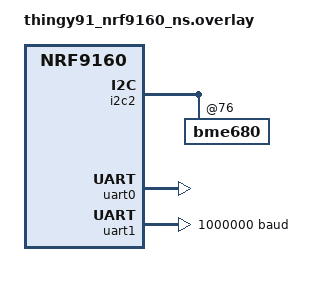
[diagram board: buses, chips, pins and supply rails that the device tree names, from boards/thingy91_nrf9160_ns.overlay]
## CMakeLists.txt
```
#
# Copyright (c) 2022 Nordic Semiconductor ASA
#
# SPDX-License-Identifier: LicenseRef-Nordic-5-Clause
#

cmake_minimum_required(VERSION 3.20.0)

find_package(Zephyr REQUIRED HINTS $ENV{ZEPHYR_BASE})
project(nrf_cloud_mqtt_multi_service)
zephyr_compile_definitions(PROJECT_NAME=${PROJECT_NAME})

# NORDIC SDK APP START
target_sources(app PRIVATE src/main.c)
target_sources(app PRIVATE src/application.c)
target_sources(app PRIVATE src/connection.c)
target_sources(app PRIVATE src/temperature.c)
target_sources(app PRIVATE src/fota_support.c)
target_sources(app PRIVATE src/led_control.c)
target_sources(app PRIVATE src/location_tracking.c)
target_sources(app PRIVATE src/aggregator.c)
#target_sources(app PRIVATE src/ble.c)
# NORDIC SDK APP END


#include(../../../../nrf/cmake/boilerplate.cmake NO_POLICY_SCOPE)
zephyr_include_directories(src)
```

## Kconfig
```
#
# Copyright (c) 2022 Nordic Semiconductor ASA
#
# SPDX-License-Identifier: LicenseRef-Nordic-5-Clause
#


menu "UDP Sample Settings"

config CAMERA_MTU
	int "Camera MTU"
	default 1024
	help
	  MTU of camera transfer over UART

config CAMERA_TIMER
	int "Camera Time frequency"
	default 55
	help
	  Timer in msec when picture is taken at RPI over UART

config CAMERA_START_HOUR
	int "Camera Start hour"
	default 5
	help
	  Start hour in GMT when is talking pictures

config CAMERA_FINISH_HOUR
	int "Camera finish hour"
	default 18
	help
	  Finish hour in GMT when is talking pictures

config UDP_DATA_UPLOAD_SIZE_BYTES
	int "Number of bytes transmitted to the server"
	default 10

config UDP_DATA_UPLOAD_FREQUENCY_SECONDS
	int "How often data is transmitted to the server"
	default 900

config UDP_SERVER_ADDRESS_STATIC
	string "UDP server IP address"
	default "8.8.8.8"

config UDP_SERVER_PORT
	int "UDP server port number"
	default "2469"

config UDP_SERVER_PORT_STAT
	int "UDP stat server port number"
	default "2469"

config UDP_PSM_ENABLE
	bool "Enable LTE Power Saving Mode"
	default y

config UDP_EDRX_ENABLE
	bool "Enable LTE enhanced Discontinuous Reception"

config UDP_RAI_ENABLE
	bool "Enable LTE Release Assistance Indication"

endmenu

module = UDP
module-str = UDP sample
source "${ZEPHYR_BASE}/subsys/logging/Kconfig.template.log_config"


menu "MQTT Multi Service Sample Settings"

config APP_VERSION
	string "MQTT Multi Service Sample version"
	default "1.0.0"

config POWER_SAVING_MODE_ENABLE
	bool "Enable Power Saving Mode (PSM)"
	help
	  Enable to request Power Saving Mode from cellular network.

config LTE_INIT_RETRY_TIMEOUT_SECONDS
	int "LTE initialization retry timeout (seconds)"
	default 30
	help
	  Sets the number of seconds between each LTE modem initialization
	  retry.

config CLOUD_CONNECTION_RETRY_TIMEOUT_SECONDS
	int "Cloud connection retry timeout (seconds)"
	default 30
	help
	  If connecting to nRF Cloud takes longer than this timeout, it will be
	  reattempted.

config CLOUD_CONNECTION_REESTABLISH_DELAY_SECONDS
	int "Cloud connection reestablishment delay (seconds)"
	default 5
	help
	  After the connection to nRF Cloud has been reset, wait this amount of
	  time before attempting to connect again.

config CLOUD_READY_TIMEOUT_SECONDS
	int "Cloud readiness timeout (seconds)"
	default 600
	help
	  If the connection to nRF Cloud does not become ready within this
	  timeout, the sample will reset its connection and try again.

config DATE_TIME_ESTABLISHMENT_TIMEOUT_SECONDS
	int "Modem date and time establishment timeout (seconds)"
	default 300
	help
	  The sample will wait this many seconds for the modem to determine the
	  current date and time before giving up and moving on.

config APPLICATION_THREAD_STACK_SIZE
	int "Application Thread Stack Size (bytes)"
	default 2048
	help
	  Sets the stack size (in bytes) for the application thread of the
	  sample.

config CONNECTION_THREAD_STACK_SIZE
	int "Connection Thread Stack Size (bytes)"
	default 2048
	help
	  Sets the stack size (in bytes) for the connection thread of the
	  sample.

config MESSAGE_THREAD_STACK_SIZE
	int "Message Queue Thread Stack Size (bytes)"
	default 2048
	help
	  Sets the stack size (in bytes) for the message queue processing
	  thread of the sample.

config LED_THREAD_STACK_SIZE
	int "LED Thread Stack Size (bytes)"
	default 512
	help
	  Sets the stack size (in bytes) for the LED thread.

config MAX_OUTGOING_MESSAGES
	int "Outgoing message maximum"
	default 64
	help
	  Sets the maximum number of device messages which may be enqueued
	  before further messages are dropped.

config MAX_CONSECUTIVE_SEND_FAILURES
	int "Max outgoing consecutive send failures"
	default 5
	help
	  Sets the maximum number of device messages which may fail to send
	  before a connection reset and cooldown is triggered.

config CONSECUTIVE_SEND_FAILURE_COOLDOWN_SECONDS
	int "Cooldown after max consecutive send failures exceeded"
	default 10
	help
	  If a connection reset is triggered by too many failed device
	  messages, the sample will wait this long (in seconds) before trying
	  again.

config SENSOR_SAMPLE_INTERVAL_SECONDS
	int "Sensor sampling interval (seconds)"
	default 60
	help
	  Sets the time to wait between each sensor sample.

config LOCATION_TRACKING_SAMPLE_INTERVAL_SECONDS
	int "Location sampling interval (seconds)"
	default 60
	help
	  Sets the location sampling interval in seconds.

config LOCATION_TRACKING_GNSS
	bool "Use GNSS method for location tracking"
	default y
	depends on LOCATION_METHOD_GNSS
	help
	  Disable all location tracking methods to completely disable location tracking.

config LOCATION_TRACKING_CELLULAR
	bool "Use cellular method for location tracking"
	default y
	depends on LOCATION_METHOD_CELLULAR
	help
	  Disable all location tracking methods to completely disable location tracking.

config LOCATION_TRACKING_WIFI
	bool "Use Wi-Fi method for location tracking"
	default n
	depends on LOCATION_METHOD_WIFI
	help
	  Requires the use of an nRF7002 companion chip.
	  Disable all location tracking methods to completely disable location tracking.

config TEMP_DATA_USE_SENSOR
	bool "Use genuine temperature data"
	depends on BOARD_THINGY91_NRF9160_NS
	default y if BOARD_THINGY91_NRF9160_NS
	select SENSOR
	select BME680
	help
	  Sets whether to take genuine temperature measurements from a
	  connected BME680 sensor, or just simulate sensor data.

config TEMP_TRACKING
	bool "Track temperature"
	default y
	help
	  Sets whether to take temperature measurements.

config TEMP_ALERT_LIMIT
	int "Temperature limit to send alert"
	default 30
	help
	  Sets the temperature in degrees C over which a temperature alert will
	  be sent to the cloud.

choice
	prompt "LED indication"
	default LED_INDICATION_PWM if BOARD_THINGY91_NRF9160_NS
	default LED_INDICATION_GPIO if BOARD_NRF9160DK_NRF9160_NS || $(dt_compat_enabled,gpio-leds)
	default LED_INDICATION_DISABLED

	config LED_INDICATION_PWM
		select LED
		select LED_PWM
		select PWM
		bool "Enable LED indication using the pwm-leds driver"

	config LED_INDICATION_GPIO
		select LED
		select LED_GPIO
		bool "Enable LED indication using the gpio-leds driver"

	config LED_INDICATION_DISABLED
		bool "Disable LED indication"
endchoice

choice
	prompt "LED indication LED type"
	depends on !LED_INDICATION_DISABLED
	default LED_INDICATOR_RGB if BOARD_THINGY91_NRF9160_NS && LED_INDICATION_PWM
	default LED_INDICATOR_4LED if !LED_INDICATION_DISABLED
	default LED_INDICATOR_NONE

	config LED_INDICATOR_RGB
		depends on LED_INDICATION_PWM
		bool "A single RGB LED"

	config LED_INDICATOR_4LED
		depends on !LED_INDICATION_DISABLED
		bool "Four binary LEDs"

	config LED_INDICATOR_NONE
		depends on LED_INDICATION_DISABLED
		bool "No indicator LEDs"

endchoice

config LED_VERBOSE_INDICATION
	depends on !LED_INDICATION_DISABLED
	bool "Enables extra LED status indications"
	default y

config LED_CONTINUOUS_INDICATION
	depends on !LED_INDICATION_DISABLED
	bool "Show an idle pattern instead of turning LEDs off"
	default y

config GNSS_FIX_TIMEOUT_SECONDS
	int "GNSS Fix timeout"
	default 40
	help
	  On each location sample, try for this long to achieve a GNSS fix
	  before falling back to cellular positioning.
	  Set this to 20 or so seconds below the sensor sample interval so
	  that there is time left over to perform cellular positioning.
	  Otherwise, location samples may occur at a longer interval than
	  requested.

config TEST_COUNTER
	bool "Sets whether the test counter is enabled"

config AT_CMD_REQUESTS
	bool "Enables remote execution of AT commands using device messages"
	default y

config AT_CMD_REQUEST_RESPONSE_BUFFER_LENGTH
	int "Max length (in bytes) for Modem responses during AT command requests"
	help
	  Responses to modem AT commands are stored in a buffer of this length before being sent to
	  nRF Cloud. If a response from the modem exceeds this length, it will be dropped, and an
	  error code sent in its place (-NRF_E2BIG). Cannot be less than 40 bytes.
	default 200

endmenu

module = MQTT_MULTI_SERVICE
module-str = MQTT Multi Service
source "${ZEPHYR_BASE}/subsys/logging/Kconfig.template.log_config"

menu "Zephyr Kernel"
source "Kconfig.zephyr"
endmenu
```

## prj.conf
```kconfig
#
# Copyright (c) 2022 Nordic Semiconductor ASA
#
# SPDX-License-Identifier: LicenseRef-Nordic-5-Clause
#

# Log level
# For more verbose and detailed log output, set the log level to
# CONFIG_MQTT_MULTI_SERVICE_LOG_LEVEL_DBG=y instead.
CONFIG_MQTT_MULTI_SERVICE_LOG_LEVEL_INF=y

# General config
CONFIG_EVENTS=y
CONFIG_NEWLIB_LIBC=y
CONFIG_NEWLIB_LIBC_FLOAT_PRINTF=y
CONFIG_RESET_ON_FATAL_ERROR=y
CONFIG_NCS_SAMPLES_DEFAULTS=y

#LED indication
# Uncomment these to minimize LED state indication when power savings are necessary
# CONFIG_LED_VERBOSE_INDICATION=n
# CONFIG_LED_CONTINUOUS_INDICATION=n

# Or, uncomment this to completely disable LED state indication
# CONFIG_LED_INDICATION_DISABLED=y

# Improved Logging
# CONFIG_LOG_MODE_DEFERRED allows logging from multiple threads simultaneously without creating
# splintered log entries, at the cost of needing a buffer for storing logs.
CONFIG_LOG_MODE_DEFERRED=y

# CONFIG_LOG_BUFFER_SIZE is the aforementioned buffer. A size of 4096 bytes is useful for debugging
# and prototyping, but is probably more than necessary for production-ready firmware.
CONFIG_LOG_BUFFER_SIZE=4096

# Heap and stacks
# Extended memory heap size needed both for PGPS and for encoding JSON-based nRF Cloud Device Messages.
CONFIG_HEAP_MEM_POOL_SIZE=24576
CONFIG_SYSTEM_WORKQUEUE_STACK_SIZE=2048

# Network
CONFIG_NETWORKING=y
CONFIG_NET_NATIVE=n
CONFIG_NET_SOCKETS=y
CONFIG_NET_SOCKETS_OFFLOAD=y

# Modem library
CONFIG_NRF_MODEM_LIB=y

# AT commands interface
#CONFIG_AT_HOST_LIBRARY=n

# nRF Cloud
CONFIG_NRF_CLOUD_MQTT=y # This also enables FOTA by implicitly setting CONFIG_NRF_CLOUD_FOTA=y

# MQTT
CONFIG_MQTT_KEEPALIVE=120

# MCUBOOT - Needed by FOTA
CONFIG_BOOTLOADER_MCUBOOT=y
CONFIG_IMG_MANAGER=y
CONFIG_MCUBOOT_IMG_MANAGER=n
CONFIG_STREAM_FLASH_ERASE=y

# Location Services configuration
CONFIG_LOCATION=y
CONFIG_LOCATION_METHOD_GNSS=y
CONFIG_LOCATION_METHOD_CELLULAR=y
CONFIG_NRF_CLOUD_AGPS=y
CONFIG_NRF_CLOUD_LOCATION=y
CONFIG_MODEM_INFO=y
CONFIG_MODEM_INFO_ADD_NETWORK=y
CONFIG_NRF_CLOUD_PGPS=n
#CONFIG_NRF_CLOUD_PGPS_REPLACEMENT_THRESHOLD=4
CONFIG_NRF_CLOUD_PGPS_REQUEST_UPON_INIT=n

# Date Time lib - Used by PGPS and main application
CONFIG_DATE_TIME=y

# LTE link control - used by PGPS and main application
CONFIG_LTE_LINK_CONTROL=y
CONFIG_LTE_NETWORK_MODE_LTE_M_GPS=y
CONFIG_LTE_AUTO_INIT_AND_CONNECT=n

# Settings - used by nRF Cloud library and PGPS
CONFIG_SETTINGS=y
CONFIG_SETTINGS_FCB=y
CONFIG_FCB=y

# Download Client - used by FOTA and PGPS
CONFIG_DOWNLOAD_CLIENT=y
CONFIG_DOWNLOAD_CLIENT_HTTP_FRAG_SIZE_1024=y
CONFIG_DOWNLOAD_CLIENT_STACK_SIZE=4096
CONFIG_DOWNLOAD_CLIENT_BUF_SIZE=2300
CONFIG_DOWNLOAD_CLIENT_MAX_HOSTNAME_SIZE=128

# Flash - Used by FOTA and PGPS
CONFIG_FLASH=y
CONFIG_FLASH_PAGE_LAYOUT=y
CONFIG_FLASH_MAP=y
CONFIG_STREAM_FLASH=y
CONFIG_MPU_ALLOW_FLASH_WRITE=y
CONFIG_PM_EXTERNAL_FLASH_MCUBOOT_SECONDARY=n
CONFIG_NRF_CLOUD_ALERTS=y



# Enable nordic security backend and PSA APIs
#CONFIG_NRF_SECURITY=y
#CONFIG_MBEDTLS_PSA_CRYPTO_C=y

##CONFIG_MBEDTLS=y
#CONFIG_MBEDTLS_CFG_FILE="config-tls-generic.h"
#CONFIG_MBEDTLS_ENTROPY_ENABLED=y
#CONFIG_MBEDTLS_PSA_CRYPTO_C=y
#CONFIG_MBEDTLS_ZEPHYR_ENTROPY=y

#CONFIG_MBEDTLS_ENABLE_HEAP=y
#CONFIG_MBEDTLS_HEAP_SIZE=8192
#CONFIG_PSA_CRYPTO_DRIVER_OBERON=n
##CONFIG_PSA_CRYPTO_DRIVER_CC3XX=n
##CONFIG_PSA_CRYPTO_DRIVER_ALG_SHA_256_OBERON=n
#CONFIG_PSA_CRYPTO_DRIVER_ALG_SHA_256_CC3XX=n
#CONFIG_PSA_WANT_ALG_SHA_256=n

## PSM
CONFIG_UDP_PSM_ENABLE=y
CONFIG_LTE_PSM_REQ_RPTAU="00100001"
CONFIG_LTE_PSM_REQ_RAT="00000000"

## eDRX
CONFIG_UDP_EDRX_ENABLE=y
CONFIG_LTE_EDRX_REQ_VALUE_LTE_M="1001"

## RAI
CONFIG_UDP_RAI_ENABLE=y
CONFIG_LTE_RAI_REQ_VALUE="4"

CONFIG_UDP_SERVER_ADDRESS_STATIC="REDACTED"
CONFIG_UDP_SERVER_PORT=REDACTED
CONFIG_UDP_SERVER_PORT_STAT=REDACTED

CONFIG_UDP_DATA_UPLOAD_FREQUENCY_SECONDS=120
CONFIG_MODEM_ANTENNA_AT_MAGPIO="AT%XMAGPIO=1,1,1,7,1,746,803,2,698,748,2,1710,2200,3,824,894,4,880,960,5,791,849,7,1565,1586"
CONFIG_MODEM_ANTENNA_AT_COEX0="AT%XCOEX0=1,1,1565,1586"
CONFIG_NEWLIB_LIBC_MIN_REQUIRED_HEAP_SIZE=2048
CONFIG_LED_INDICATION_DISABLED=y
CONFIG_POWER_SAVING_MODE_ENABLE=y
CONFIG_MODEM_ANTENNA=y
#CONFIG_TFM_PROFILE_TYPE_MINIMAL=n


# Enable Bluetooth stack and libraries
CONFIG_BT=n
#CONFIG_BT_H4=y
#CONFIG_BT_WAIT_NOP=y
#CONFIG_BT_CENTRAL=y
#CONFIG_BT_GATT_CLIENT=y
#CONFIG_BT_GATT_DM=y
#CONFIG_BT_SCAN=y
#CONFIG_BT_SCAN_FILTER_ENABLE=y
#CONFIG_BT_SCAN_UUID_CNT=1
#CONFIG_BT_OBSERVER=y
#CONFIG_BT_FILTER_ACCEPT_LIST=y


CONFIG_NRF_MODEM_LIB=y
# Modem library fault handling
CONFIG_NRF_MODEM_LIB_ON_FAULT_APPLICATION_SPECIFIC=y

# Disable Modem traces, since we need UART1 for HCI
#CONFIG_NRF_MODEM_LIB_TRACE=n

CONFIG_USE_SEGGER_RTT=y
CONFIG_RTT_CONSOLE=y
CONFIG_LOG_BACKEND_RTT=y
#CONFIG_AT_HOST_LIBRARY=n
CONFIG_NRF_MODEM_LIB_ON_FAULT_APPLICATION_SPECIFIC=y
CONFIG_DK_LIBRARY=y
# Modem library
CONFIG_NRF_MODEM_LIB=y
# Modem library fault handling
CONFIG_NRF_MODEM_LIB_ON_FAULT_APPLICATION_SPECIFIC=y

# Disable Modem traces, since we need UART1 for HCI
#CONFIG_NRF_MODEM_LIB_TRACE=n


CONFIG_MODEM_INFO=y
CONFIG_MODEM_INFO_ADD_NETWORK=y

# Logging
CONFIG_LOG=y

# LTE link control
CONFIG_LTE_LINK_CONTROL=y
CONFIG_LTE_AUTO_INIT_AND_CONNECT=n
CONFIG_LTE_NETWORK_MODE_LTE_M_GPS=y



#
# Copyright (c) 2019 Nordic Semiconductor ASA
#
# SPDX-License-Identifier: LicenseRef-Nordic-5-Clause
#
# General config
CONFIG_NEWLIB_LIBC=y
CONFIG_NEWLIB_LIBC_FLOAT_PRINTF=y
CONFIG_ASSERT=n
CONFIG_REBOOT=y

# Network
CONFIG_NETWORKING=y
CONFIG_NET_NATIVE=n
CONFIG_NET_SOCKETS=y
CONFIG_NET_SOCKETS_OFFLOAD=y

# LTE link control
CONFIG_LTE_LINK_CONTROL=y
CONFIG_LTE_AUTO_INIT_AND_CONNECT=n
CONFIG_LTE_NETWORK_MODE_LTE_M_GPS=y

# AT host
#CONFIG_AT_HOST_LIBRARY=n

# Modem library
CONFIG_NRF_MODEM_LIB=y
# Modem library fault handling
CONFIG_NRF_MODEM_LIB_ON_FAULT_APPLICATION_SPECIFIC=y

# Disable Modem traces, since we need UART1 for HCI
#CONFIG_NRF_MODEM_LIB_TRACE=n

# nRF Cloud
CONFIG_NRF_CLOUD_MQTT=y
#CONFIG_NRF_CLOUD_AGPS=y

# Modem info
CONFIG_MODEM_INFO=y
CONFIG_MODEM_INFO_ADD_NETWORK=y

# Logging
CONFIG_LOG=y



# Library for buttons and LEDs
CONFIG_DK_LIBRARY=y

# Console for user association
#CONFIG_CONSOLE_SUBSYS=y
#CONFIG_CONSOLE_GETCHAR=y

# Enable Bluetooth stack and libraries
CONFIG_BT=n
#CONFIG_BT_H4=y
#CONFIG_BT_WAIT_NOP=y
#CONFIG_BT_CENTRAL=y
#CONFIG_BT_GATT_CLIENT=y
#CONFIG_BT_GATT_DM=y
#CONFIG_BT_SCAN=y
#CONFIG_BT_SCAN_FILTER_ENABLE=y
#CONFIG_BT_SCAN_UUID_CNT=1

CONFIG_UART_INTERRUPT_DRIVEN=y

# Heap and stacks
#CONFIG_HEAP_MEM_POOL_SIZE=16384
CONFIG_MAIN_STACK_SIZE=16384
CONFIG_SYSTEM_WORKQUEUE_STACK_SIZE=8192
CONFIG_AT_CMD_REQUESTS=n
CONFIG_SERIAL=y
CONFIG_LOG_BACKEND_UART=y
CONFIG_UART_CONSOLE=y
CONFIG_NRF_MODEM_LIB_ON_FAULT_RESET_MODEM=y
#CONFIG_BT_HCI_TX_STACK_SIZE=2048
#CONFIG_BOOTLOADER_MCUBOOT=n
CONFIG_GPIO=y
CONFIG_SENSOR_SAMPLE_INTERVAL_SECONDS=600
CONFIG_MQTT_KEEPALIVE=120
#CONFIG_BT_SCAN_SHORT_NAME_CNT=4
CONFIG_CBPRINTF_FP_SUPPORT=y

CONFIG_SERIAL=y
CONFIG_CBPRINTF_FP_SUPPORT=y
CONFIG_UART_ASYNC_API=y
CONFIG_UART_1_ASYNC=y
CONFIG_CRC=y


# fs_dirent structures are big.

# Let __ASSERT do its job

CONFIG_LOG=y

CONFIG_FLASH=y
CONFIG_FLASH_MAP=y
CONFIG_FLASH_PAGE_LAYOUT=y

#CONFIG_FILE_SYSTEM=y
#CONFIG_FILE_SYSTEM_LITTLEFS=y

#CONFIG_BOOTLOADER_MCUBOOT=y

#CONFIG_SPI_NRFX_RAM_BUFFER_SIZE=32
##CONFIG_SPI=y
##CONFIG_SPI_NOR=y
#CONFIG_MULTITHREADING=y
#CONFIG_SPI_NOR_FLASH_LAYOUT_PAGE_SIZE=4096
#CONFIG_SPI_NRFX_RAM_BUFFER_SIZE=32
#CONFIG_PM_OVERRIDE_EXTERNAL_DRIVER_CHECK=y
#CONFIG_SPI_NOR_FLASH_LAYOUT_PAGE_SIZE=4096
CONFIG_NRF_CLOUD_REST=n 
CONFIG_NRF_CLOUD_GATEWAY=n 
CONFIG_NRF_CLOUD_LOG_LEVEL_DBG=y
#CONFIG_NRF_MODEM_LIB_TRACE=y
#CONFIG_AT_HOST_LIBRARY=y
#CONFIG_BT_HCI_VS_EXT=n

CONFIG_NRF_CLOUD_CLIENT_ID_PREFIX="REDACTED"


CONFIG_NRF_CLOUD_REST=n 
CONFIG_NRF_CLOUD_GATEWAY=n 
CONFIG_NRF_CLOUD_LOG_LEVEL_DBG=y
CONFIG_CAMERA_TIMER=55
CONFIG_CAMERA_START_HOUR=5
CONFIG_CAMERA_FINISH_HOUR=18


CONFIG_LOCATION_TRACKING_SAMPLE_INTERVAL_SECONDS=3600 
CONFIG_ADC=y
CONFIG_GPIO=y 

CONFIG_I2C=y
CONFIG_LOG=y
CONFIG_SENSOR=y
CONFIG_CBPRINTF_FP_SUPPORT=y
CONFIG_I2C_LOG_LEVEL_DBG=y
CONFIG_I2C=y
CONFIG_I2C_NRFX=y
```

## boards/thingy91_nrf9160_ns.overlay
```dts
/* Copyright (c) 2022 Nordic Semiconductor ASA
 *
 * SPDX-License-Identifier: LicenseRef-Nordic-5-Clause
 */

/ {
	aliases {
		temp-sensor = &bme680;
	};
};

&i2c2 {
	bme680: bme680@76 {};
};

/* Disable UART1, because it is used by default in TF-M */

&uart0 {
	status = "okay";

	//rts-pin = < 0xFF>;
};



	
&uart1 {
	status = "okay";
	current-speed = <1000000>;
};
```

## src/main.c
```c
/* Copyright (c) 2022 Nordic Semiconductor ASA
 *
 * SPDX-License-Identifier: LicenseRef-Nordic-5-Clause
 */

#include <zephyr/kernel.h>
#include <stdio.h>
#include <zephyr/logging/log.h>
#include "application.h"
#include "connection.h"
#include "led_control.h"



LOG_MODULE_REGISTER(main, CONFIG_MQTT_MULTI_SERVICE_LOG_LEVEL);

/* Here, we start the various threads that our application will run in */

#ifndef CONFIG_LED_INDICATION_DISABLED
/* Define, and automatically start the LED animation thread. See led_control.c */
K_THREAD_DEFINE(led_thread, CONFIG_LED_THREAD_STACK_SIZE, led_animation_thread_fn,
		NULL, NULL, NULL, 0, 0, 0);
#endif

/* Define, and automatically start the main application thread. See application.c */
K_THREAD_DEFINE(app_thread, CONFIG_APPLICATION_THREAD_STACK_SIZE, main_application_thread_fn,
		NULL, NULL, NULL, 0, 0, 0);

/* Define, and automatically start the message queue thread. See connection.c */
K_THREAD_DEFINE(msg_thread, CONFIG_MESSAGE_THREAD_STACK_SIZE, message_queue_thread_fn,
		NULL, NULL, NULL, 0, 0, 0);

/* Define, and automatically start the connection management thread. See connection.c
 *
 * The connection thread is given higher priority (-1) so that it can preempt the other threads,
 * for instance in the event of a call to disconnect_cloud().
 *
 * Priority -1 is also a non-preeemptible priority level, so other threads, even of higher
 * priority, cannot interrupt the connection thread until it yields.
 */
K_THREAD_DEFINE(con_thread, CONFIG_CONNECTION_THREAD_STACK_SIZE, connection_management_thread_fn,
		NULL, NULL, NULL, -1, 0, 0);

/* main() is called from the main thread, which defaults to priority zero,
 * but for illustrative purposes we don't use it. main_application() could be called directly
 * from this function, rather than given its own dedicated thread.
 */

void main(void)
{
	LOG_INF("nRF Cloud MQTT multi-service sample has started.");
}
```

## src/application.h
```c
/* Copyright (c) 2022 Nordic Semiconductor ASA
 *
 * SPDX-License-Identifier: LicenseRef-Nordic-5-Clause
 */

#ifndef _APPLICATION_H_
#define _APPLICATION_H_

/**
 * @brief Main application -- Wait for valid connection, start location tracking, and then
 * periodically sample sensors and send them to nRF Cloud.
 */
struct cameraControl
  {
    //   char request_Type[100];
      bool takePictureNow;
      bool processing;
      bool processed;
      int64_t lastPictureTaken;
      int64_t nextScheduledTime;
      int8_t delayUdpSend;
      int8_t quality;
      bool powerSave;
      int8_t cameraFrequency;
      int8_t solarChargerEnable;
	//   uint8_t m_hash[10];
  };


struct boardStatus
  {
    //   char request_Type[100];
      uint16_t batteryVoltage;
      int8_t solarChargerEnable;
      int8_t solarChargerStatus;
      int8_t solarChargerPGood;
      int8_t rpiChargerEnable;
      int8_t rpiChargerLow;
      int64_t lastPictureTaken;
      int64_t nextScheduledTime;
      int8_t delayUdpSend;
      uint16_t modemBatteryVoltage;
      uint16_t rpiBatteryVoltage;
      uint16_t rpiBatteryPercent;
      int8_t lastPictureQuality;
   //   int8_t md5Array[16];
      int8_t rpiShutdown;
      bool icarusChargerEnable;
      bool icarusChargerStatus;

	//   uint8_t m_hash[10];
  };

void main_application_thread_fn(void);



#endif /* _APPLICATION_H_ */
```

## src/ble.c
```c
/*
 * Copyright (c) 2018 Nordic Semiconductor ASA
 *
 * SPDX-License-Identifier: LicenseRef-Nordic-5-Clause
 */

#include <zephyr/kernel.h>

#include <zephyr/bluetooth/bluetooth.h>
#include <zephyr/bluetooth/gatt.h>
#include <zephyr/bluetooth/uuid.h>
#include <bluetooth/gatt_dm.h>
#include <bluetooth/scan.h>

#include <dk_buttons_and_leds.h>
#include <zephyr/sys/byteorder.h>

#include <net/nrf_cloud.h>
#include <zephyr/logging/log.h>
#include "aggregator.h"
#include "application.h"


#include "prstlib/adc.h"
#include "prstlib/led.h"
#include "prstlib/macros.h"
#include "prstlib/sensors.h"

extern struct TextMessage newMess;

bt_addr_le_t set_addr = {
	.type = 0,
	.a =  { {0xE9, 0xD6, 0xAF, 0x57, 0xD4, 0xEC} } ,
};

bt_addr_le_t addr = {
		.type		= BT_ADDR_LE_RANDOM,
		.a.val		= {0xba, 0xde, 0xba, 0x11, 0xca, 0xfe},
	};


bt_addr_t set_addr2[] =  {0xE9, 0xD6, 0xAF, 0x57, 0xD4, 0xEC};

LOG_MODULE_REGISTER(lte_ble_gw, CONFIG_MQTT_MULTI_SERVICE_LOG_LEVEL);

//extern struct TextMessage newMess;

static struct bt_conn *default_conn;

/* Thinghy advertisement UUID */
#define BT_UUID_THINGY_VAL \
	BT_UUID_128_ENCODE(0xef680100, 0x9b35, 0x4933, 0x9b10, 0x52ffa9740042)

#define BT_UUID_THINGY \
	BT_UUID_DECLARE_128(BT_UUID_THINGY_VAL)
/* Thingy service UUID */
#define BT_UUID_TMS_VAL \
	BT_UUID_128_ENCODE(0xef680400, 0x9b35, 0x4933, 0x9b10, 0x52ffa9740042)

#define BT_UUID_TMS \
	BT_UUID_DECLARE_128(BT_UUID_TMS_VAL)
		/* Thingy characteristic UUID */
#define BT_UUID_TOC_VAL \
	BT_UUID_128_ENCODE(0xef680403, 0x9b35, 0x4933, 0x9b10, 0x52ffa9740042)

#define BT_UUID_TOC \
	BT_UUID_DECLARE_128(BT_UUID_TOC_VAL)
extern void alarm(void);



static uint8_t on_received(struct bt_conn *conn,
			struct bt_gatt_subscribe_params *params,
			const void *data, uint16_t length)
{
	if (length > 0) {
		LOG_INF("Orientation: %x", ((uint8_t *)data)[0]);
		struct sensor_data in_data;

		in_data.type = THINGY_ORIENTATION;
		in_data.length = 1;
		in_data.data[0] = ((uint8_t *)data)[0];

		if (aggregator_put(in_data) != 0) {
			LOG_ERR("Was not able to insert Thingy orientation data into aggregator");
		}
		/* If the thingy is upside down, trigger an alarm. 
		if (((uint8_t *)data)[0] == 3) {
			alarm();
		}
*/
	} else {
		LOG_DBG("Orientation notification with 0 length");
	}
	return BT_GATT_ITER_CONTINUE;
}

static void discovery_completed(struct bt_gatt_dm *disc, void *ctx)
{
	int err;

	/* Must be statically allocated */
	static struct bt_gatt_subscribe_params param = {
		.notify = on_received,
		.value = BT_GATT_CCC_NOTIFY,
	};

	const struct bt_gatt_dm_attr *chrc;
	const struct bt_gatt_dm_attr *desc;

	chrc = bt_gatt_dm_char_by_uuid(disc, BT_UUID_TOC);
	if (!chrc) {
		LOG_ERR("Missing Thingy orientation characteristic");
		goto release;
	}

	desc = bt_gatt_dm_desc_by_uuid(disc, chrc, BT_UUID_TOC);
	if (!desc) {
		LOG_ERR("Missing Thingy orientation char value descriptor");
		goto release;
	}

	param.value_handle = desc->handle,

	desc = bt_gatt_dm_desc_by_uuid(disc, chrc, BT_UUID_GATT_CCC);
	if (!desc) {
		LOG_ERR("Missing Thingy orientation char CCC descriptor");
		goto release;
	}

	param.ccc_handle = desc->handle;

	err = bt_gatt_subscribe(bt_gatt_dm_conn_get(disc), &param);
	if (err) {
		LOG_ERR("Subscribe failed (err %d)", err);
	}

release:
	err = bt_gatt_dm_data_release(disc);
	if (err) {
		LOG_ERR("Could not release discovery data, err: %d", err);
	}
}

static void discovery_service_not_found(struct bt_conn *conn, void *ctx)
{
	LOG_ERR("Thingy orientation service not found!");
}

static void discovery_error_found(struct bt_conn *conn, int err, void *ctx)
{
	LOG_ERR("The discovery procedure failed, err %d", err);
}

static struct bt_gatt_dm_cb discovery_cb = {
	.completed = discovery_completed,
	.service_not_found = discovery_service_not_found,
	.error_found = discovery_error_found,
};

static void connected(struct bt_conn *conn, uint8_t conn_err)
{
	int err;
	char addr[BT_ADDR_LE_STR_LEN];

	bt_addr_le_to_str(bt_conn_get_dst(conn), addr, sizeof(addr));

	if (conn_err) {
		LOG_ERR("Failed to connect to %s (%u)", addr, conn_err);
		return;
	}

	LOG_INF("Connected: %s", addr);

	err = bt_gatt_dm_start(conn, BT_UUID_TMS, &discovery_cb, NULL);
	if (err) {
		LOG_ERR("Could not start service discovery, err %d", err);
	}
}

static struct bt_conn_cb conn_callbacks = {
	.connected = connected,
};

bool find_adv_data(struct bt_data *data, void *user_data)
{
   // printk("Data type is %u \n", data->type);
    if(data->type == 22)
	{
		LOG_INF("Size struct: %d\n", newMess.SenderId);

  		const uint8_t protocol_version = data->data[2] >> 4;
  		if (protocol_version != 1 && protocol_version != 2) {
    		LOG_INF("Unsupported protocol version: %u", protocol_version);
    	//	return false;
  		}
		else
		{
		LOG_INF("supported protocol version: %u", protocol_version);
		}

// Some b-parasite versions have an (optional) illuminance sensor.
  		bool has_illuminance = data->data[2] & 0x1;
		LOG_INF("Illuminance support: %u", has_illuminance);
  // Counter for deduplicating messages.
  		uint8_t counter = data->data[3] & 0x0f;
		LOG_INF("Counter: %u", counter);
		newMess.SenderId = counter;

	// Battery voltage in millivolts.
  		uint16_t battery_millivolt = data->data[4] << 8 | data->data[5];
  		float battery_voltage = battery_millivolt / 1000.0f;
		LOG_INF("Battery voltage: %.2f", battery_voltage);

// Temperature in 1000 * Celsius (protocol v1) or 100 * Celsius (protocol v2).
  		float temp_celsius;
  		if (protocol_version == 1) {
    		uint16_t temp_millicelsius = data->data[6] << 8 | data->data[7];
    		temp_celsius = temp_millicelsius / 1000.0f;
  		} else {
    		int16_t temp_centicelsius = data->data[6] << 8 | data->data[7];
    		temp_celsius = temp_centicelsius / 100.0f;
  		}
		LOG_INF("Temp: %.2f", temp_celsius);

// Relative air humidity in the range [0, 2^16).
  		uint16_t humidity = data->data[8] << 8 | data->data[9];
  		float humidity_percent = (100.0f * humidity) / (1 << 16);
		LOG_INF("Humidity: %.2f", humidity_percent);

  // Relative soil moisture in [0 - 2^16).
  		uint16_t soil_moisture = data->data[10] << 8 | data->data[11];
  		float moisture_percent = (100.0f * soil_moisture) / (1 << 16);
		LOG_INF("Moisture: %.2f", moisture_percent);

  // Ambient light in lux.
  		float illuminance = has_illuminance ? data->data[18] << 8 | data->data[19] : 0.0f;
		LOG_INF("Illuminance: %.2f", illuminance);



  	//	if (last_processed_counter_ == counter) {
    //		ESP_LOGVV(TAG, "Skipping already processed counter (%u)", counter);
    //		return false;
  	//	}

	//	LOG_INF("data Lenght: %u", data->data_len);
//		for(int i = 0; i < data->data_len; i++)
//		{
//			LOG_INF("0x%02x", data->data[i]);
//		}
	}
    return true; // keep parsing
}


void scan_filter_match(struct bt_scan_device_info *device_info,
		       struct bt_scan_filter_match *filter_match,
		       bool connectable)
{
	char addr[BT_ADDR_LE_STR_LEN];

	bt_addr_le_to_str(device_info->recv_info->addr, addr, sizeof(addr));
	//struct net_buf_simple *adv_data;

	LOG_INF("Device found: %s", addr);
    bt_data_parse(device_info->adv_data, find_adv_data, NULL);

}


void scan_connecting_error(struct bt_scan_device_info *device_info)
{
	LOG_ERR("Connection to peer failed!");
}

static void scan_filter_no_match(struct bt_scan_device_info *device_info,
				 bool connectable)
{
	int err;
	struct bt_conn *conn;
	char addr[BT_ADDR_LE_STR_LEN];
//	if (device_info->recv_info->adv_type == BT_GAP_ADV_TYPE_ADV_DIRECT_IND) {
		bt_addr_le_to_str(device_info->recv_info->addr, addr,
				  sizeof(addr));
		LOG_INF("Direct advertising received from %s\n", addr);
//		bt_scan_stop();

//		err = bt_conn_le_create(device_info->recv_info->addr,
//					BT_CONN_LE_CREATE_CONN,
//					device_info->conn_param, &conn);

//		if (!err) {
//			default_conn = bt_conn_ref(conn);
//			bt_conn_unref(conn);
		
//	}
}

//BT_SCAN_CB_INIT(scan_cb, scan_filter_match, scan_filter_no_match, scan_connecting_error, NULL);
BT_SCAN_CB_INIT(scan_cb, scan_filter_match, NULL, scan_connecting_error, NULL);

static void scan_start(void)
{
	int err;

	struct bt_le_scan_param scan_param = {
		.type = BT_LE_SCAN_TYPE_PASSIVE,
//		.options = BT_LE_SCAN_OPT_FILTER_ACCEPT_LIST, 
		.options = BT_LE_SCAN_OPT_FILTER_DUPLICATE,
		.interval = 0x0010,
		.window = 0x0010,
		.timeout = 0,
	};

	struct bt_scan_init_param scan_init = {
		.connect_if_match = 0,
		.scan_param = &scan_param,
		.conn_param = BT_LE_CONN_PARAM_DEFAULT,
	};

	bt_scan_init(&scan_init);
	bt_scan_cb_register(&scan_cb);
	uint8_t filter_mode = 0;
	bt_scan_filter_remove_all();

	//char addr_str[BT_ADDR_LE_STR_LEN];

	//bt_addr_le_to_str(&addr, addr_str,
//				  sizeof(addr_str));
//	LOG_INF("Address filter added %s", addr_str);

    struct bt_scan_short_name ble_shrt_name;
	ble_shrt_name.name = "prst";
	ble_shrt_name.min_len = 4;

	err = bt_scan_filter_add(BT_SCAN_FILTER_TYPE_SHORT_NAME, &ble_shrt_name);
	if (err) {
		LOG_ERR("Scanning filters cannot be set (err %d)", err);
		return;
	}
	err = bt_scan_filter_enable(BT_SCAN_SHORT_NAME_FILTER, false);
	//err = bt_scan_filter_enable(BT_SCAN_ADDR_FILTER, false);
	if (err) {
		LOG_ERR("Filters cannot be turned on");
	}

	err = bt_scan_start(BT_SCAN_TYPE_SCAN_ACTIVE);
	if (err) {
		LOG_ERR("Scanning failed to start, err %d", err);
	}

	LOG_INF("Scanning...");
}

static void ble_ready(int err)
{
	LOG_INF("Bluetooth ready");

	bt_conn_cb_register(&conn_callbacks);
	scan_start();
}

void ble_init()
{
	int err;
	LOG_INF("Initializing Bluetooth..");
	err = bt_enable(ble_ready);
	if (err) {
		LOG_ERR("Bluetooth init failed (err %d)", err);
		return;
	}
}
```

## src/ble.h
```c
/*
 * Copyright (c) 2018 Nordic Semiconductor ASA
 *
 * SPDX-License-Identifier: LicenseRef-Nordic-5-Clause
 */

#ifndef _BLE_H_
#define _BLE_H_

void ble_init();

#endif /* _BLE_H_ */
```
